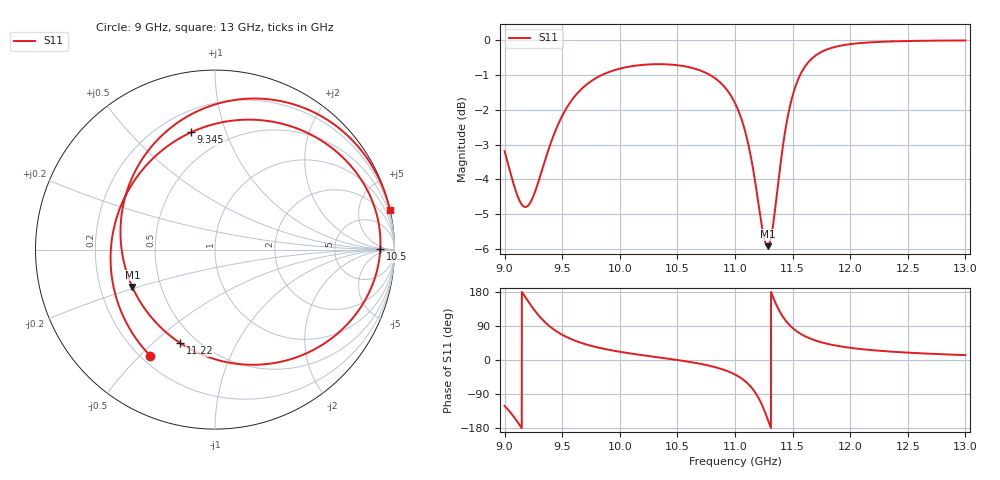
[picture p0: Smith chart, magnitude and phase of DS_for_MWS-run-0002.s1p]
! TOUCHSTONE file generated by CST DESIGN STUDIO
! Date and time: Tue Feb  4 17:48:10 2025
! Project name: C:\Work\MatlabApps\UnitCellOptimizationMatlab\CST\unitcell.cst
! Tree item: Tasks\Sweep1\SPara1\S-Parameters
! Header version: 2024
! Port assignment regex: !\s*Touchstone port\s*([0-9]+)\s*=\s*(CST MWS port|CST DES external port|CST DES block port)\s*(.+)\s* \(\"(.*)\"\)(\s*mode\s*([0-9]+))?.*
! Touchstone port assignment:
! Touchstone port 1 = CST DES external port 1 ("")
# GHz S MA R 50
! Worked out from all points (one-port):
!   4001 points, 9 GHz to 13 GHz, reference 50 ohm
!   lowest |S11| = -5.9 dB at 11.28 GHz (marker M1), VSWR 3.05, Z = 17.1 - j9.59 ohm
!   |S11| at or under -10 dB: nowhere
!   S11 on the Smith chart (normalised r, x): 9 GHz: 0.24, -0.54; 9.345 GHz: 0.32, +0.76; 10.5 GHz: 24, +1; 11.22 GHz: 0.41, -0.61; 13 GHz: 0.02, +8.85
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9  0.6925 -121.5
9.093  0.6097 -155.3
9.164  0.5769 173.2
9.259  0.6022 131.5
9.345  0.667 101.5
9.416  0.723 83.0
9.5  0.7785 66.6
9.712  0.8639 40.8
10  0.9103 21.7
10.497  0.9209 0.1
10.5  0.9208 -0.0
10.808  0.8862 -17.4
11  0.8122 -38.3
11.072  0.7558 -52.1
11.138  0.6795 -70.8
11.183  0.6138 -89.1
11.222  0.5554 -110.5
11.283  0.5056 -155.6
11.339  0.5554 159.6
11.401  0.6754 121.4
11.448  0.7609 101.0
11.5  0.8323 84.5
11.591  0.9076 65.3
11.695  0.9496 51.8
11.826  0.9738 41.1
12  0.9873 32.2
12.5  0.9976 19.4
13  0.9995 12.9
